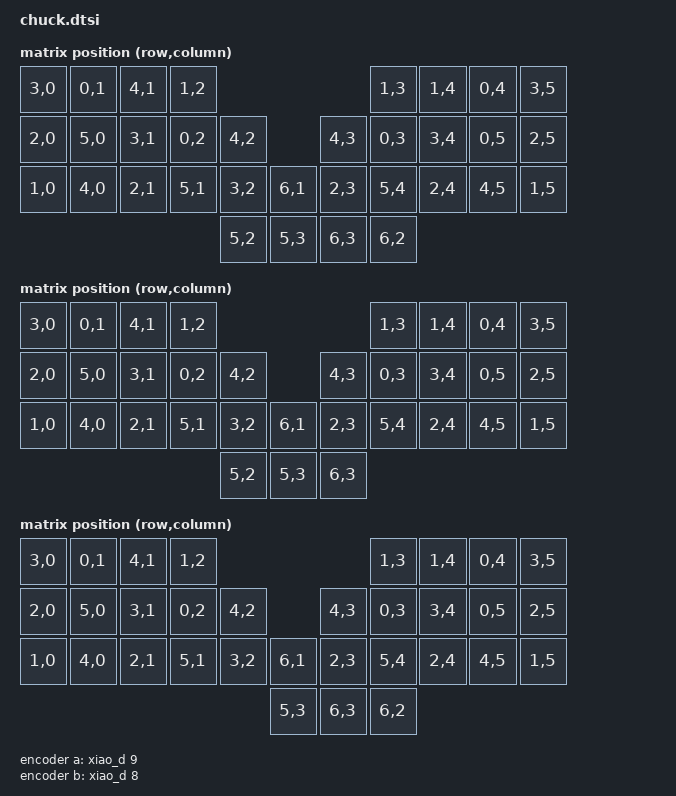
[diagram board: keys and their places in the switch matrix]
#include <dt-bindings/zmk/matrix_transform.h>
#include "chuck-layouts.dtsi"

/ {
    chosen {
        zmk,physical-layout = &charlieflex_layout22;
    };

    charlieflex_transform_22: keymap_transform_22 {
        compatible = "zmk,matrix-transform";
        columns = <6>;
        rows = <6>;
        //  3-0  0-1  4-1  1-2                   1-3  1-4  0-4  3-5
        //  2-0  5-0  3-1  0-2  4-2         4-3  0-3  3-4  0-5  2-5
        //  1-0  4-0  2-1  5-1  3-2   6-1   2-3  5-4  2-4  4-5  1-5
        //                      5-2 5-3 6-3 6-2
        map = <
            RC(3,0) RC(0,1) RC(4,1) RC(1,2)                                 RC(1,3) RC(1,4) RC(0,4) RC(3,5)
            RC(2,0) RC(5,0) RC(3,1) RC(0,2) RC(4,2)                 RC(4,3) RC(0,3) RC(3,4) RC(0,5) RC(2,5)
            RC(1,0) RC(4,0) RC(2,1) RC(5,1) RC(3,2)     RC(6,1)     RC(2,3) RC(5,4) RC(2,4) RC(4,5) RC(1,5)
                                            RC(5,2) RC(5,3) RC(6,3) RC(6,2)
        >;
    };

    charlieflex_transform_21: keymap_transform_21 {
        compatible = "zmk,matrix-transform";
        columns = <6>;
        rows = <6>;
        //  3-0  0-1  4-1  1-2                   1-3  1-4  0-4  3-5
        //  2-0  5-0  3-1  0-2  4-2         4-3  0-3  3-4  0-5  2-5
        //  1-0  4-0  2-1  5-1  3-2   6-1   2-3  5-4  2-4  4-5  1-5
        //                      5-2 5-3 6-3
        map = <
            RC(3,0) RC(0,1) RC(4,1) RC(1,2)                                 RC(1,3) RC(1,4) RC(0,4) RC(3,5)
            RC(2,0) RC(5,0) RC(3,1) RC(0,2) RC(4,2)                 RC(4,3) RC(0,3) RC(3,4) RC(0,5) RC(2,5)
            RC(1,0) RC(4,0) RC(2,1) RC(5,1) RC(3,2)     RC(6,1)     RC(2,3) RC(5,4) RC(2,4) RC(4,5) RC(1,5)
                                            RC(5,2) RC(5,3) RC(6,3)
        >;
    };

    charlieflex_transform_12: keymap_transform_12 {
        compatible = "zmk,matrix-transform";
        columns = <6>;
        rows = <6>;
        //  3-0  0-1  4-1  1-2                   1-3  1-4  0-4  3-5
        //  2-0  5-0  3-1  0-2  4-2         4-3  0-3  3-4  0-5  2-5
        //  1-0  4-0  2-1  5-1  3-2   6-1   2-3  5-4  2-4  4-5  1-5
        //                          5-3 6-3 6-2
        map = <
            RC(3,0) RC(0,1) RC(4,1) RC(1,2)                                 RC(1,3) RC(1,4) RC(0,4) RC(3,5)
            RC(2,0) RC(5,0) RC(3,1) RC(0,2) RC(4,2)                 RC(4,3) RC(0,3) RC(3,4) RC(0,5) RC(2,5)
            RC(1,0) RC(4,0) RC(2,1) RC(5,1) RC(3,2)     RC(6,1)     RC(2,3) RC(5,4) RC(2,4) RC(4,5) RC(1,5)
                                                    RC(5,3) RC(6,3) RC(6,2)
        >;
    };

    charlieflex_transform_11: keymap_transform_11 {
        compatible = "zmk,matrix-transform";
        columns = <6>;
        rows = <6>;
        //  3-0  0-1  4-1  1-2                   1-3  1-4  0-4  3-5
        //  2-0  5-0  3-1  0-2  4-2         4-3  0-3  3-4  0-5  2-5
        //  1-0  4-0  2-1  5-1  3-2   6-1   2-3  5-4  2-4  4-5  1-5
        //                          5-3 6-3
        map = <
            RC(3,0) RC(0,1) RC(4,1) RC(1,2)                                 RC(1,3) RC(1,4) RC(0,4) RC(3,5)
            RC(2,0) RC(5,0) RC(3,1) RC(0,2) RC(4,2)                 RC(4,3) RC(0,3) RC(3,4) RC(0,5) RC(2,5)
            RC(1,0) RC(4,0) RC(2,1) RC(5,1) RC(3,2)     RC(6,1)     RC(2,3) RC(5,4) RC(2,4) RC(4,5) RC(1,5)
                                                    RC(5,3) RC(6,3)
        >;
    };

    encoder: encoder {
        compatible = "alps,ec11";
        a-gpios = <&xiao_d 9 (GPIO_ACTIVE_HIGH | GPIO_PULL_UP)>;
        b-gpios = <&xiao_d 8 (GPIO_ACTIVE_HIGH | GPIO_PULL_UP)>;
        steps = <4>;
        status = "disabled";
    };

    sensors: sensors {
        compatible = "zmk,keymap-sensors";
        sensors = <&encoder>;
        triggers-per-rotation = <1>;
    };
};

// vim: expandtab softtabstop=4 shiftwidth=4
